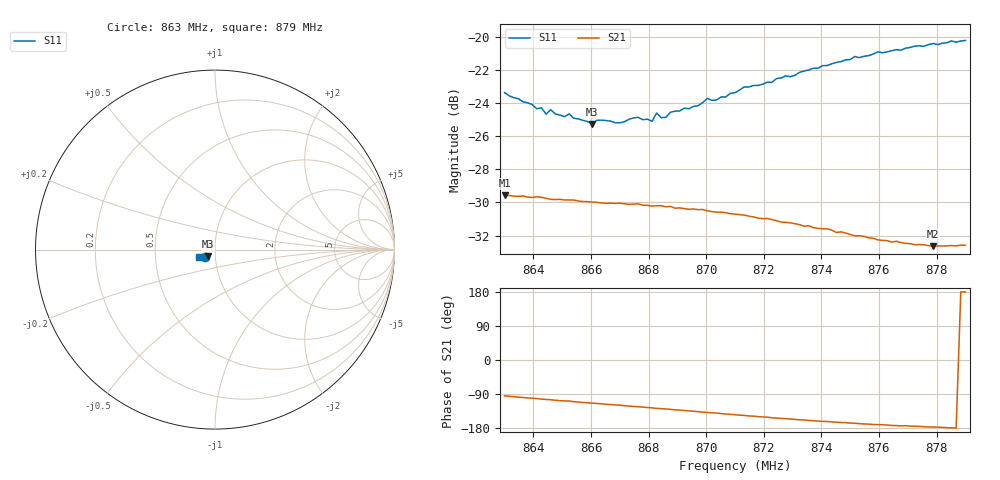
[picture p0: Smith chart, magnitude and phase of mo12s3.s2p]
# HZ S RI R 50
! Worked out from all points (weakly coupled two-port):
!   101 points, 863 MHz to 879 MHz, reference 50 ohm
!   highest |S21| = -29.57 dB at 863 MHz (marker M1); lowest = -32.6 dB at 877.88 MHz (marker M2)
!   lowest |S11| = -25.3 dB at 866.04 MHz (marker M3), VSWR 1.12, Z = 46.1 - j3.53 ohm
!   |S11| at or under -10 dB: start of sweep to end of sweep
!   S12 and S22 are empty: the file has one direction only
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8.63e8  -0.0552 -0.0396  -0.00266 -0.0331  0 0  0 0
8.6428e8  -0.048 -0.0378  -0.00751 -0.0319  0 0  0 0
8.6444e8  -0.0457 -0.0365  -0.00802 -0.0316  0 0  0 0
8.646e8  -0.0474 -0.0374  -0.00825 -0.0313  0 0  0 0
8.6572e8  -0.0407 -0.0385  -0.0121 -0.0295  0 0  0 0
8.6604e8  -0.039 -0.0381  -0.0128 -0.029  0 0  0 0
8.662e8  -0.0392 -0.04  -0.0132 -0.0288  0 0  0 0
8.67e8  -0.037 -0.0407  -0.0153 -0.0275  0 0  0 0
8.6764e8  -0.0366 -0.044  -0.0172 -0.0262  0 0  0 0
8.6812e8  -0.0339 -0.0441  -0.0183 -0.0249  0 0  0 0
8.6828e8  -0.0359 -0.0467  -0.0189 -0.0245  0 0  0 0
8.6844e8  -0.0335 -0.0462  -0.0192 -0.0242  0 0  0 0
8.6972e8  -0.0363 -0.0503  -0.0218 -0.0207  0 0  0 0
8.7004e8  -0.0379 -0.0532  -0.0224 -0.0198  0 0  0 0
8.7036e8  -0.0374 -0.0526  -0.0226 -0.019  0 0  0 0
8.71e8  -0.0396 -0.0551  -0.0237 -0.017  0 0  0 0
8.7132e8  -0.0416 -0.0572  -0.0241 -0.0161  0 0  0 0
8.7228e8  -0.045 -0.0575  -0.0249 -0.013  0 0  0 0
8.7372e8  -0.0532 -0.0604  -0.025 -0.00895  0 0  0 0
8.7644e8  -0.073 -0.0541  -0.0238 -0.00308  0 0  0 0
8.7788e8  -0.0841 -0.0456  -0.0233 -0.00132  0 0  0 0
8.79e8  -0.0896 -0.0389  -0.0235 0.000115  0 0  0 0
